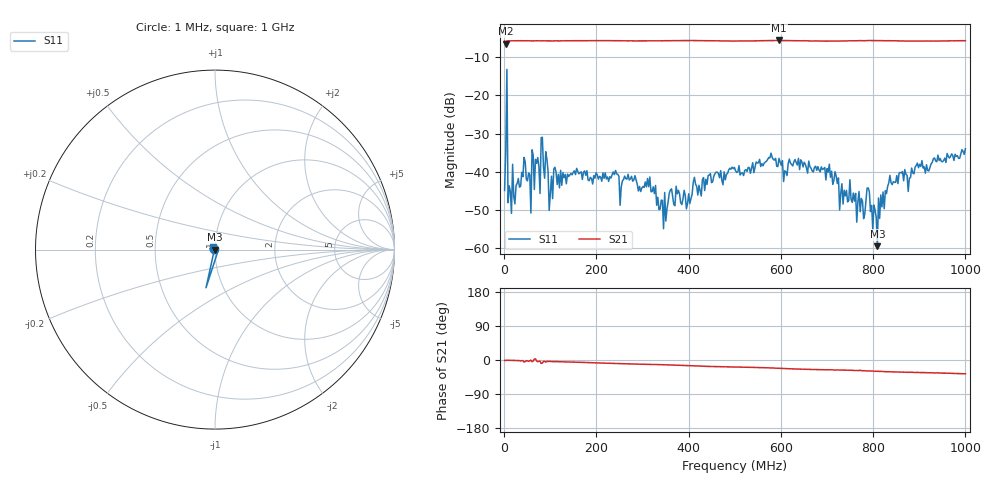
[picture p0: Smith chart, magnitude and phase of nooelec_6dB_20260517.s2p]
# HZ S RI R 50
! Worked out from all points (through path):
!   404 points, 1 MHz to 1 GHz, reference 50 ohm
!   highest |S21| = -5.65 dB at 595.9 MHz (marker M1); lowest = -6.5 dB at 3.479 MHz (marker M2)
!   group delay of S21, straight-line fit = 100 ps
!   lowest |S11| = -59.5 dB at 809.1 MHz (marker M3), VSWR 1.00, Z = 49.9 - j0.0901 ohm
!   |S11| at or under -10 dB: start of sweep to end of sweep
!   S12 and S22 are empty: the file has one direction only
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1000000  -0.00531 0.00207  0.5126 -0.01  0 0  0 0
3478908  0.0166 -0.00803  0.4723 -0.00934  0 0  0 0
8436724  -0.00371 -0.00132  0.5149 -0.00647  0 0  0 0
1.339454e7  -0.00549 -0.000886  0.5166 -0.00706  0 0  0 0
1.835236e7  -0.00206 0.0124  0.5171 -0.00734  0 0  0 0
5.305707e7  -0.00953 0.00135  0.5162 -0.0311  0 0  0 0
8.528287e7  -0.0109 0.00397  0.5157 -0.031  0 0  0 0
1.001563e8  -0.0052 -0.000783  0.5146 -0.0356  0 0  0 0
1.125509e8  -0.00989 -0.000279  0.5143 -0.0383  0 0  0 0
1.695657e8  -0.00714 0.00349  0.5161 -0.0567  0 0  0 0
3.108635e8  -0.00776 0.00252  0.5042 -0.1027  0 0  0 0
3.356526e8  -0.003 0.0011  0.504 -0.1096  0 0  0 0
5.017394e8  -0.0103 -0.000389  0.4865 -0.1628  0 0  0 0
5.959379e8  -0.0113 0.00987  0.4836 -0.1958  0 0  0 0
6.678263e8  0.00129 0.0102  0.4653 -0.2171  0 0  0 0
7.050099e8  8.07e-05 0.0126  0.4619 -0.223  0 0  0 0
7.322779e8  0.000302 0.00697  0.4604 -0.2295  0 0  0 0
7.768982e8  0.00236 0.00337  0.4579 -0.2452  0 0  0 0
7.917717e8  0.0047 -0.00285  0.4559 -0.25  0 0  0 0
8.09124e8  -0.000564 -0.000902  0.4498 -0.2603  0 0  0 0
8.339131e8  -0.00409 -0.00589  0.4447 -0.2674  0 0  0 0
9.999999e8  -0.013 0.0152  0.417 -0.3075  0 0  0 0
